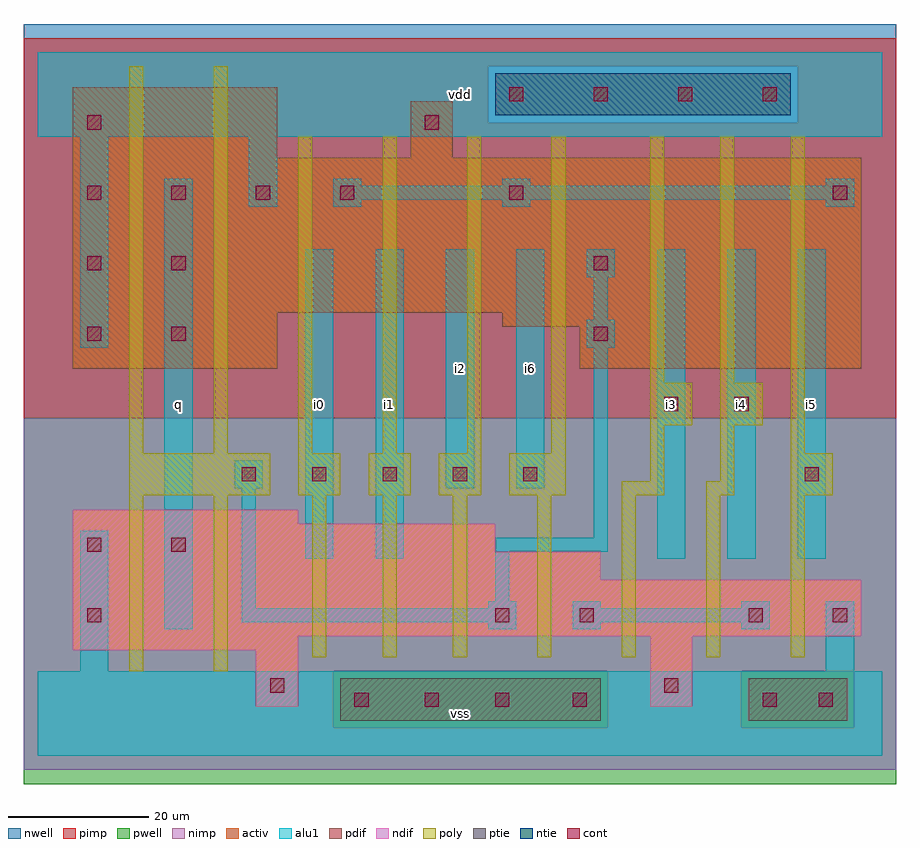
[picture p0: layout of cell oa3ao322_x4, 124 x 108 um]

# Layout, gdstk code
import gdstk
lib = gdstk.Library(unit=1e-6, precision=1e-09)
def R(c, l, rs):  # rectangles x0, y0, x1, y1
    for r in rs: c.add(gdstk.rectangle(r[:2], r[2:], *l))
def A(c, l, x, y, w, h, nx, ny, dx, dy):  # array of equal rectangles
    R(c, l, [(x+i*dx, y+j*dy, x+i*dx+w, y+j*dy+h) for i in range(nx) for j in range(ny)])
ndif = (3, 0)
pdif = (4, 0)
ntie = (5, 0)
ptie = (6, 0)
cont = (25, 0)
pwell = (41, 0)
nwell = (42, 0)
activ = (43, 0)
pimp = (44, 0)
nimp = (45, 0)
poly = (46, 0)
alu1 = (49, 0)

oa3ao322_x4 = lib.new_cell('oa3ao322_x4')
R(oa3ao322_x4, ndif, [(31,7,37,15), (87,7,93,17), (5,15,37,17), (5,17,117,25), (5,25,80,29), (5,29,65,33), (5,33,37,35)])
R(oa3ao322_x4, pdif, [(5,55,34,63), (77,55,117,61), (66,61,117,63), (5,63,117,85), (5,85,34,95), (53,85,59,93)])
R(oa3ao322_x4, ntie, [(65,91,107,97)])
R(oa3ao322_x4, ptie, [(43,5,80,11), (101,5,115,11)])
A(oa3ao322_x4, cont, 45, 7, 2, 2, 3, 1, 10, 0)
A(oa3ao322_x4, cont, 29, 39, 2, 2, 5, 1, 10, 0)
A(oa3ao322_x4, cont, 7, 79, 2, 2, 4, 1, 12, 0)
A(oa3ao322_x4, cont, 67, 93, 2, 2, 4, 1, 12, 0)
R(oa3ao322_x4, cont, [(76,7,78,9), (103,7,105,9), (111,7,113,9), (33,9,35,11), (89,9,91,11), (7,19,9,21), (65,19,67,21), (77,19,79,21), (101,19,103,21), (113,19,115,21), (7,29,9,31), (19,29,21,31), (109,39,111,41), (89,49,91,51), (99,49,101,51), (7,59,9,61), (19,59,21,61), (79,59,81,61), (7,69,9,71), (19,69,21,71), (79,69,81,71), (67,79,69,81), (113,79,115,81), (7,89,9,91), (55,89,57,91)])
R(oa3ao322_x4, pwell, [(-2,-4,122,48)])
R(oa3ao322_x4, nwell, [(-2,48,122,104)])
R(oa3ao322_x4, activ, [(43,5,80,11), (101,5,115,11), (31,7,37,15), (87,7,93,17), (5,15,37,17), (5,17,117,25), (5,25,80,29), (5,29,65,33), (5,33,37,35), (5,55,34,63), (77,55,117,61), (66,61,117,63), (5,63,117,85), (5,85,34,95), (53,85,59,93), (65,91,107,97)])
R(oa3ao322_x4, pimp, [(42,4,81,12), (100,4,116,12), (-2,48,122,90), (-2,90,64,98), (108,90,122,98), (-2,98,122,102)])
R(oa3ao322_x4, nimp, [(-2,-2,122,4), (-2,4,42,12), (81,4,100,12), (116,4,122,12), (-2,12,122,48), (64,90,108,98)])
A(oa3ao322_x4, poly, 39, 14, 2, 23, 3, 1, 10, 0)
A(oa3ao322_x4, poly, 71, 14, 2, 23, 4, 1, 12, 0)
A(oa3ao322_x4, poly, 37, 37, 6, 6, 3, 1, 10, 0)
A(oa3ao322_x4, poly, 37, 43, 2, 45, 4, 1, 12, 0)
R(oa3ao322_x4, poly, [(13,12,15,37), (25,12,27,37), (13,37,33,43), (67,37,75,43), (83,37,89,39), (95,37,99,39), (107,37,113,43), (87,39,89,47), (97,39,99,47), (13,43,15,98), (25,43,27,98), (107,43,109,88), (87,47,93,53), (97,47,103,53), (87,53,89,88), (97,53,99,88)])
A(oa3ao322_x4, alu1, 88, 28, 4, 44, 3, 1, 10, 0)
R(oa3ao322_x4, alu1, [(0,0,120,12), (6,12,10,32), (112,12,116,22), (18,18,22,82), (64,18,68,19), (76,18,80,19), (100,18,104,19), (29,19,68,21), (76,19,104,21), (29,21,31,38), (64,21,68,22), (76,21,80,22), (100,21,104,22), (65,22,67,29), (38,28,42,72), (48,28,52,72), (65,29,81,31), (79,31,81,58), (28,38,32,42), (58,38,62,72), (68,38,72,72), (6,58,10,88), (78,58,82,62), (79,62,81,68), (78,68,82,72), (30,78,34,88), (42,78,46,79), (66,78,70,79), (112,78,116,79), (42,79,116,81), (42,81,46,82), (66,81,70,82), (112,81,116,82), (0,88,120,100)])
oa3ao322_x4.add(gdstk.Label('q', (20,50), layer=49, texttype=0))
oa3ao322_x4.add(gdstk.Label('i0', (40,50), layer=49, texttype=0))
oa3ao322_x4.add(gdstk.Label('vss', (60,6), layer=49, texttype=0))
oa3ao322_x4.add(gdstk.Label('i1', (50,50), layer=49, texttype=0))
oa3ao322_x4.add(gdstk.Label('i2', (60,55), layer=49, texttype=0))
oa3ao322_x4.add(gdstk.Label('vdd', (60,94), layer=49, texttype=0))
oa3ao322_x4.add(gdstk.Label('i6', (70,55), layer=49, texttype=0))
oa3ao322_x4.add(gdstk.Label('i3', (90,50), layer=49, texttype=0))
oa3ao322_x4.add(gdstk.Label('i4', (100,50), layer=49, texttype=0))
oa3ao322_x4.add(gdstk.Label('i5', (110,50), layer=49, texttype=0))

lib.write_gds('oa3ao322_x4.gds')
